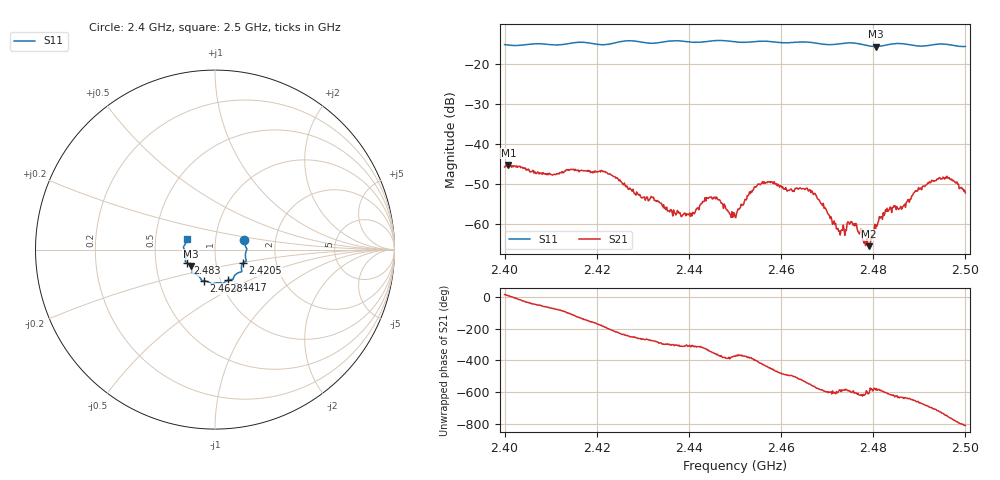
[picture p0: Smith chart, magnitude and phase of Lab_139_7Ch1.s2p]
# Hz S RI R 50
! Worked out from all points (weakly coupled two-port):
!   601 points, 2.4 GHz to 2.5 GHz, reference 50 ohm
!   highest |S21| = -45.21 dB at 2.4008 GHz (marker M1); lowest = -65.5 dB at 2.479 GHz (marker M2)
!   lowest |S11| = -15.7 dB at 2.4807 GHz (marker M3), VSWR 1.39, Z = 37.4 - j6.98 ohm
!   |S11| at or under -10 dB: start of sweep to end of sweep
!   S12 and S22 are empty: the file has one direction only
!   S11 on the Smith chart (normalised r, x): 2.4 GHz: 1.38, +0.16; 2.4205 GHz: 1.35, -0.21; 2.4417 GHz: 1.09, -0.38; 2.4628 GHz: 0.83, -0.30; 2.483 GHz: 0.73, -0.11; 2.5 GHz: 0.73, +0.09
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2.4e9  0.1637 0.056  0.00493 0.00155  0 0  0 0
2.400833e9  0.164 0.0484  0.00541 0.000922  0 0  0 0
2.416667e9  0.1739 -0.0633  -0.00323 -0.00342  0 0  0 0
2.4205e9  0.1554 -0.0767  -0.00454 -0.000508  0 0  0 0
2.433333e9  0.1072 -0.1476  0.000487 0.00185  0 0  0 0
2.436833e9  0.1005 -0.165  0.000832 0.00112  0 0  0 0
2.441667e9  0.0719 -0.1698  0.00112 0.00111  0 0  0 0
2.445667e9  0.0484 -0.1879  0.00218 0.000119  0 0  0 0
2.45e9  0.029 -0.1853  0.0012 -0.000289  0 0  0 0
2.4555e9  -0.0127 -0.1901  0.00168 -0.00261  0 0  0 0
2.462833e9  -0.0627 -0.1734  -0.00203 -0.00156  0 0  0 0
2.466667e9  -0.0772 -0.1667  -0.00248 0.000801  0 0  0 0
2.4725e9  -0.1144 -0.1345  -0.000454 0.00068  0 0  0 0
2.475667e9  -0.1269 -0.1295  -0.000596 0.00077  0 0  0 0
2.479e9  -0.1284 -0.1067  -0.000174 0.000504  0 0  0 0
2.480667e9  -0.1363 -0.0907  -0.000762 0.000606  0 0  0 0
2.483e9  -0.1543 -0.0751  -0.000615 0.00146  0 0  0 0
2.483333e9  -0.1566 -0.0738  -0.000476 0.00142  0 0  0 0
2.4865e9  -0.1658 -0.0629  0.000135 0.00167  0 0  0 0
2.489333e9  -0.1626 -0.0377  0.00134 0.00225  0 0  0 0
2.494667e9  -0.1756 0.0128  0.00362 -0.000468  0 0  0 0
2.5e9  -0.1537 0.0575  -7.91e-05 -0.00246  0 0  0 0
